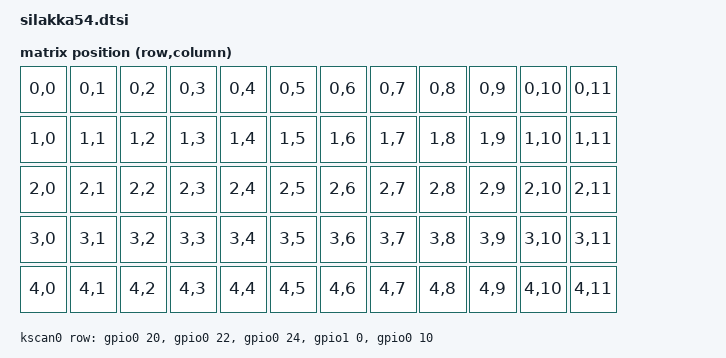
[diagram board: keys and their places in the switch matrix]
/*
 * Copyright (c) 2025 Seu Nome
 * SPDX-License-Identifier: MIT
 *
 * Adaptado do Lily58.dtsi, com pinagem traduzida para nice!nano e matriz ajustada para Silakka54.
 */

#include <dt-bindings/zmk/matrix_transform.h>

/ {
    chosen {
        // zephyr,display = &oled; // Desativado, pois o OLED não é garantido ou configurado aqui
        zmk,kscan = &kscan0;
        zmk,matrix_transform = &default_transform; // Usar o nome do transform definido abaixo
        // zmk,physical-layout = &kata0510_lily58_layout; // Removido, pois é específico do Lily58
    };

    default_transform: keymap_transform_0 {
        compatible = "zmk,matrix-transform";
        columns = <12>; // 6 colunas por lado
        rows = <5>;     // Silakka54 tem 5 linhas
        map = <
RC(0,0) RC(0,1) RC(0,2) RC(0,3) RC(0,4) RC(0,5)  RC(0,6) RC(0,7) RC(0,8) RC(0,9) RC(0,10) RC(0,11)
RC(1,0) RC(1,1) RC(1,2) RC(1,3) RC(1,4) RC(1,5)  RC(1,6) RC(1,7) RC(1,8) RC(1,9) RC(1,10) RC(1,11)
RC(2,0) RC(2,1) RC(2,2) RC(2,3) RC(2,4) RC(2,5)  RC(2,6) RC(2,7) RC(2,8) RC(2,9) RC(2,10) RC(2,11)
RC(3,0) RC(3,1) RC(3,2) RC(3,3) RC(3,4) RC(3,5)  RC(3,6) RC(3,7) RC(3,8) RC(3,9) RC(3,10) RC(3,11)
RC(4,0) RC(4,1) RC(4,2) RC(4,3) RC(4,4) RC(4,5)  RC(4,6) RC(4,7) RC(4,8) RC(4,9) RC(4,10) RC(4,11)
        >;
    };

    kscan0: kscan {
        compatible = "zmk,kscan-gpio-matrix";
        wakeup-source;

        diode-direction = "col2row";
        row-gpios
            = <&gpio0 20 (GPIO_ACTIVE_HIGH | GPIO_PULL_DOWN)> // D6
            , <&gpio0 22 (GPIO_ACTIVE_HIGH | GPIO_PULL_DOWN)> // D7
            , <&gpio0 24 (GPIO_ACTIVE_HIGH | GPIO_PULL_DOWN)> // D8
            , <&gpio1 0 (GPIO_ACTIVE_HIGH | GPIO_PULL_DOWN)>  // D9
            , <&gpio0 10 (GPIO_ACTIVE_HIGH | GPIO_PULL_DOWN)> // D10 (Aposta para a 5ª linha do Silakka54)
            ;
    };

    // left_encoder: encoder_left { // Desativado, pois o encoder não é garantido ou configurado aqui
    //     compatible = "alps,ec11";
    //     a-gpios = <&gpio0 6 (GPIO_ACTIVE_HIGH | GPIO_PULL_UP)>; // D1 (TX)
    //     b-gpios = <&gpio0 8 (GPIO_ACTIVE_HIGH | GPIO_PULL_UP)>; // D0 (RX)
    //     steps = <80>;
    // };

    // sensors: sensors { // Desativado
    //     compatible = "zmk,keymap-sensors";
    //     sensors = <&left_encoder>;
    //     triggers-per-rotation = <20>;
    // };
};

// &kata0510_lily58_layout { // Removido, pois é específico do Lily58
//     transform = <&default_transform>;
// };

// &pro_micro_i2c { // Desativado, pois o OLED não é garantido ou configurado aqui
//     status = "okay";

//     oled: ssd1306@3c {
//         compatible = "solomon,ssd1306fb";
//         reg = <0x3c>;
//         width = <128>;
//         height = <32>;
//         segment-offset = <0>;
//         page-offset = <0>;
//         display-offset = <0>;
//         multiplex-ratio = <31>;
//         segment-remap;
//         com-invdir;
//         com-sequential;
//         inversion-on;
//         prechargep = <0x22>;
//     };
// };

